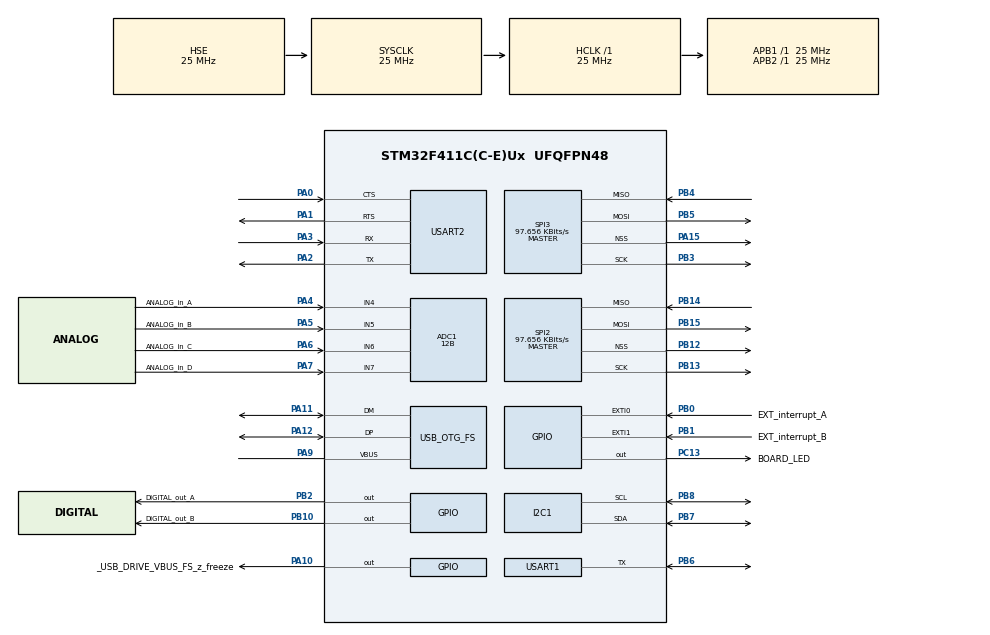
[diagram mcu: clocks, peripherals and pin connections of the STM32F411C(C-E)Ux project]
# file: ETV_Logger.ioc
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ADC1.Channel-1\#ChannelRegularConversion=ADC_CHANNEL_4
ADC1.Channel-5\#ChannelRegularConversion=ADC_CHANNEL_5
ADC1.Channel-6\#ChannelRegularConversion=ADC_CHANNEL_6
ADC1.Channel-7\#ChannelRegularConversion=ADC_CHANNEL_7
ADC1.Channel-8\#ChannelRegularConversion=ADC_CHANNEL_TEMPSENSOR
ADC1.Channel-9\#ChannelRegularConversion=ADC_CHANNEL_VREFINT
ADC1.ClockPrescaler=ADC_CLOCK_SYNC_PCLK_DIV8
ADC1.ContinuousConvMode=DISABLE
ADC1.DMAContinuousRequests=DISABLE
ADC1.DataAlign=ADC_DATAALIGN_RIGHT
ADC1.EOCSelection=ADC_EOC_SEQ_CONV
ADC1.ExternalTrigConv=ADC_SOFTWARE_START
ADC1.InjNumberOfConversion=0
ADC1.NbrOfConversion=6
ADC1.NbrOfConversionFlag=1
ADC1.Rank-1\#ChannelRegularConversion=1
ADC1.Rank-5\#ChannelRegularConversion=2
ADC1.Rank-6\#ChannelRegularConversion=3
ADC1.Rank-7\#ChannelRegularConversion=4
ADC1.Rank-8\#ChannelRegularConversion=5
ADC1.Rank-9\#ChannelRegularConversion=6
ADC1.Resolution=ADC_RESOLUTION_12B
ADC1.SamplingTime-1\#ChannelRegularConversion=ADC_SAMPLETIME_480CYCLES
ADC1.SamplingTime-5\#ChannelRegularConversion=ADC_SAMPLETIME_480CYCLES
ADC1.SamplingTime-6\#ChannelRegularConversion=ADC_SAMPLETIME_480CYCLES
ADC1.SamplingTime-7\#ChannelRegularConversion=ADC_SAMPLETIME_480CYCLES
ADC1.SamplingTime-8\#ChannelRegularConversion=ADC_SAMPLETIME_480CYCLES
ADC1.SamplingTime-9\#ChannelRegularConversion=ADC_SAMPLETIME_480CYCLES
ADC1.master=1
Dma.ADC1.0.Direction=DMA_PERIPH_TO_MEMORY
Dma.ADC1.0.FIFOMode=DMA_FIFOMODE_DISABLE
Dma.ADC1.0.Instance=DMA2_Stream0
Dma.ADC1.0.MemDataAlignment=DMA_MDATAALIGN_WORD
Dma.ADC1.0.MemInc=DMA_MINC_ENABLE
Dma.ADC1.0.Mode=DMA_CIRCULAR
Dma.ADC1.0.PeriphDataAlignment=DMA_PDATAALIGN_WORD
Dma.ADC1.0.PeriphInc=DMA_PINC_DISABLE
Dma.ADC1.0.Priority=DMA_PRIORITY_LOW
Dma.Request0=ADC1
FREERTOS.BinarySemaphores01=adcBufSmf_,Dynamic,NULL;adcFinalSmf_,Dynamic,NULL
FREERTOS.HEAP_NUMBER=4
FREERTOS.INCLUDE_uxTaskGetStackHighWaterMark2=1
FREERTOS.INCLUDE_vTaskCleanUpResources=0
FREERTOS.Queues01=adcBufQue_,200,uint32_t,0,Dynamic,NULL,NULL
FREERTOS.Tasks01=defaultTask,24,128,StartDefaultTask,Default,NULL,Dynamic,NULL,NULL;blinki,8,128,blinkiStart,Default,NULL,Dynamic,NULL,NULL;analogMerenje,8,128,analogMerenjeStart,Default,NULL,Dynamic,NULL,NULL;analogFilter,8,256,analogFilterStart,Default,NULL,Dynamic,NULL,NULL;extInt_A,32,128,extInt_A_receiver,Default,NULL,Dynamic,NULL,NULL;extInt_B,32,128,extInt_B_receiver,Default,NULL,Dynamic,NULL,NULL
FREERTOS.configCHECK_FOR_STACK_OVERFLOW=2
FREERTOS.configENABLE_BACKWARD_COMPATIBILITY=1
FREERTOS.configENABLE_FPU=1
FREERTOS.configGENERATE_RUN_TIME_STATS=1
FREERTOS.configMAX_TASK_NAME_LEN=32
FREERTOS.configMINIMAL_STACK_SIZE=128
FREERTOS.configRECORD_STACK_HIGH_ADDRESS=1
FREERTOS.configTICK_RATE_HZ=1000
FREERTOS.configTIMER_TASK_STACK_DEPTH=128
FREERTOS.configTOTAL_HEAP_SIZE=24000
FREERTOS.configUSE_APPLICATION_TASK_TAG=1
FREERTOS.configUSE_IDLE_HOOK=1
FREERTOS.configUSE_MALLOC_FAILED_HOOK=1
FREERTOS.configUSE_POSIX_ERRNO=1
FREERTOS.configUSE_STATS_FORMATTING_FUNCTIONS=0
FREERTOS.configUSE_TICK_HOOK=1
Mcu.Family=STM32F4
Mcu.Name=STM32F411C(C-E)Ux
Mcu.Package=UFQFPN48
Mcu.UserConstants=ADC_ULAZA_max,6;ADC_ULAZA_koristi,6;ADC_ULAZA_internih,2;ADC_SAMPLES_max,8;ADC_SAMPLES_koristi,8;ADC_REPEAT_PERIOD_mS,10000;a_dummy,-99;b_dummy,-99;c_dummy,-99;DIGITAL_ULAZA_max,3;DIGITAL_ULAZA_koristi,3;DIGITAL_SAMPLES_max,5;DIGITAL_SAMPLES_koristi,3;DIGITAL_REPEAT_PERIOD_mS,120000;d_dummy,-99;e_dummy,-99;blinkiPERIOD,1000;f_dummy,-999;EXTI_MINIMUM_REPEAT_mS,500
NVIC.ADC_IRQn=true\:5\:0\:false\:false\:true\:true\:true\:true
NVIC.DMA2_Stream0_IRQn=true\:5\:0\:false\:false\:true\:true\:false\:true
NVIC.EXTI0_IRQn=true\:5\:0\:false\:false\:true\:true\:true\:true
NVIC.EXTI1_IRQn=true\:5\:0\:false\:false\:true\:true\:true\:true
NVIC.OTG_FS_IRQn=true\:5\:0\:false\:false\:true\:true\:false\:true
NVIC.PriorityGroup=NVIC_PRIORITYGROUP_4
NVIC.SPI2_IRQn=true\:5\:0\:false\:false\:true\:true\:true\:true
NVIC.SPI3_IRQn=true\:5\:0\:false\:false\:true\:true\:true\:true
NVIC.TIM2_IRQn=true\:0\:0\:false\:false\:true\:false\:false\:true
NVIC.TimeBase=TIM2_IRQn
NVIC.TimeBaseIP=TIM2
PA0-WKUP.Mode=CTS_RTS
PA0-WKUP.Signal=USART2_CTS
PA1.Mode=CTS_RTS
PA1.Signal=USART2_RTS
PA10.GPIO_Label=_USB_DRIVE_VBUS_FS_z_freeze
PA10.Signal=GPIO_Output
PA11.Mode=Host_Only
PA11.Signal=USB_OTG_FS_DM
PA12.Mode=Host_Only
PA12.Signal=USB_OTG_FS_DP
PA13.Mode=Serial_Wire
PA13.Signal=SYS_JTMS-SWDIO
PA14.Mode=Serial_Wire
PA14.Signal=SYS_JTCK-SWCLK
PA15.Mode=NSS_Signal_Hard_Output
PA15.Signal=SPI3_NSS
PA2.Mode=Asynchronous
PA2.Signal=USART2_TX
PA3.Mode=Asynchronous
PA3.Signal=USART2_RX
PA4.GPIO_Label=ANALOG_in_A
PA4.Signal=ADCx_IN4
PA5.GPIO_Label=ANALOG_in_B
PA5.Signal=ADCx_IN5
PA6.GPIO_Label=ANALOG_in_C
PA6.Signal=ADCx_IN6
PA7.GPIO_Label=ANALOG_in_D
PA7.Signal=ADCx_IN7
PA9.Mode=Activate_VBUS
PA9.Signal=USB_OTG_FS_VBUS
PB0.GPIO_Label=EXT_interrupt_A
PB0.Signal=GPXTI0
PB1.GPIO_Label=EXT_interrupt_B
PB1.Signal=GPXTI1
PB10.GPIO_Label=DIGITAL_out_B
PB10.Signal=GPIO_Output
PB12.Mode=NSS_Signal_Hard_Output
PB12.Signal=SPI2_NSS
PB13.Mode=Full_Duplex_Master
PB13.Signal=SPI2_SCK
PB14.Mode=Full_Duplex_Master
PB14.Signal=SPI2_MISO
PB15.Mode=Full_Duplex_Master
PB15.Signal=SPI2_MOSI
PB2.GPIO_Label=DIGITAL_out_A
PB2.Signal=GPIO_Output
PB3.Mode=Full_Duplex_Master
PB3.Signal=SPI3_SCK
PB4.Mode=Full_Duplex_Master
PB4.Signal=SPI3_MISO
PB5.Mode=Full_Duplex_Master
PB5.Signal=SPI3_MOSI
PB6.Mode=Half_duplex(single_wire_mode)
PB6.Signal=USART1_TX
PB7.Mode=I2C
PB7.Signal=I2C1_SDA
PB8.Mode=I2C
PB8.Signal=I2C1_SCL
PC13-ANTI_TAMP.GPIO_Label=BOARD_LED
PC13-ANTI_TAMP.Signal=GPIO_Output
PC14-OSC32_IN.Mode=LSE-External-Oscillator
PC14-OSC32_IN.Signal=RCC_OSC32_IN
PC15-OSC32_OUT.Mode=LSE-External-Oscillator
PC15-OSC32_OUT.Signal=RCC_OSC32_OUT
PH0\ -\ OSC_IN.Mode=HSE-External-Oscillator
PH0\ -\ OSC_IN.Signal=RCC_OSC_IN
PH1\ -\ OSC_OUT.Mode=HSE-External-Oscillator
PH1\ -\ OSC_OUT.Signal=RCC_OSC_OUT
ProjectManager.HeapSize=0x200
ProjectManager.StackSize=0x400
ProjectManager.TargetToolchain=STM32CubeIDE
RCC.48MHZClocksFreq_Value=48000000
RCC.AHBFreq_Value=25000000
RCC.APB1Freq_Value=25000000
RCC.APB1TimFreq_Value=25000000
RCC.APB2Freq_Value=25000000
RCC.APB2TimFreq_Value=25000000
RCC.CortexFreq_Value=25000000
RCC.HCLKFreq_Value=25000000
RCC.HSE_VALUE=25000000
RCC.HSI_VALUE=16000000
RCC.PLLM=15
RCC.PLLN=144
RCC.PLLQ=5
RCC.RCC_RTC_Clock_Source=RCC_RTCCLKSOURCE_LSE
RCC.RCC_RTC_Clock_SourceVirtual=RCC_RTCCLKSOURCE_LSE
RCC.SYSCLKFreq_VALUE=25000000
RCC.SYSCLKSource=RCC_SYSCLKSOURCE_HSE
RCC.VCOOutputFreq_Value=240000000
RTC.Year=0
SH.ADCx_IN4.0=ADC1_IN4,IN4
SH.ADCx_IN5.0=ADC1_IN5,IN5
SH.ADCx_IN6.0=ADC1_IN6,IN6
SH.ADCx_IN7.0=ADC1_IN7,IN7
SPI2.BaudRatePrescaler=SPI_BAUDRATEPRESCALER_256
SPI2.CalculateBaudRate=97.656 KBits/s
SPI2.Direction=SPI_DIRECTION_2LINES
SPI2.Mode=SPI_MODE_MASTER
SPI2.VirtualNSS=VM_NSSHARD
SPI2.VirtualType=VM_MASTER
SPI3.BaudRatePrescaler=SPI_BAUDRATEPRESCALER_256
SPI3.CalculateBaudRate=97.656 KBits/s
SPI3.Direction=SPI_DIRECTION_2LINES
SPI3.Mode=SPI_MODE_MASTER
SPI3.VirtualNSS=VM_NSSHARD
SPI3.VirtualType=VM_MASTER
USART1.VirtualMode=VM_ASYNC
USART2.VirtualMode=VM_ASYNC
USB_HOST.BSP.number=1
USB_HOST.USBH_HandleTypeDef=hUsbHostFS
USB_HOST.VirtualModeFS=Msc
USB_HOST0.BSP.STBoard=false
USB_HOST0.BSP.api=Unknown
USB_HOST0.BSP.i2caddr=0
USB_HOST0.BSP.instance=PA10
USB_HOST0.BSP.ip=GPIO
USB_HOST0.BSP.mode=Output
USB_HOST0.BSP.name=Drive_VBUS_FS
USB_HOST0.BSP.solution=PA10
USB_OTG_FS.VirtualMode=Host_Only
USB_OTG_FS.phy_itface=HCD_PHY_EMBEDDED
VP_ADC1_TempSens_Input.Mode=IN-TempSens
VP_ADC1_Vref_Input.Mode=IN-Vrefint
VP_CRC_VS_CRC.Mode=CRC_Activate
VP_FATFS_VS_USB.Mode=USB
VP_FREERTOS_VS_CMSIS_V2.Mode=CMSIS_V2
VP_RTC_VS_RTC_Activate.Mode=RTC_Enabled
VP_RTC_VS_RTC_Calendar.Mode=RTC_Calendar
VP_SYS_VS_tim2.Mode=TIM2
VP_USB_HOST_VS_USB_HOST_MSC_FS.Mode=MSC_FS
board=custom

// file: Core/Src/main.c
/* USER CODE BEGIN Header */
/**
  ******************************************************************************
  * @file           : main.c
  * @brief          : Main program body
  ******************************************************************************
  * @attention
  *
  * <h2><center>&copy; Copyright (c) 2020 STMicroelectronics.
  * All rights reserved.</center></h2>
  *
  * This software component is licensed by ST under Ultimate Liberty license
  * SLA0044, the "License"; You may not use this file except in compliance with
  * the License. You may obtain a copy of the License at:
  *                             www.st.com/SLA0044
  *
  ******************************************************************************
  */
/* USER CODE END Header */

#include "main.h"
#include "cmsis_os.h"
#include "adc.h"
#include "crc.h"
#include "dma.h"
#include "fatfs.h"
#include "i2c.h"
#include "rtc.h"
#include "spi.h"
#include "usart.h"
#include "usb_host.h"
#include "gpio.h"

void SystemClock_Config(void);
void MX_FREERTOS_Init(void);

int main(void)
{

  /* MCU Configuration--------------------------------------------------------*/

  /* Reset of all peripherals, Initializes the Flash interface and the Systick. */
  HAL_Init();

  /* Configure the system clock */
  SystemClock_Config();

  /* Initialize all configured peripherals */
  MX_GPIO_Init();
  MX_DMA_Init();
  MX_ADC1_Init();
  MX_CRC_Init();
  MX_SPI2_Init();
  MX_SPI3_Init();
  MX_USART2_UART_Init();
  MX_USART1_UART_Init();
  MX_I2C1_Init();
  MX_RTC_Init();
  MX_FATFS_Init();

  /* Init scheduler */
  osKernelInitialize();  /* Call init function for freertos objects (in freertos.c) */
  MX_FREERTOS_Init();
  /* Start scheduler */
  osKernelStart();

  /* We should never get here as control is now taken by the scheduler */
  /* Infinite loop */
  while (1)
  {

  }
}

void SystemClock_Config(void)
{
  RCC_OscInitTypeDef RCC_OscInitStruct = {0};
  RCC_ClkInitTypeDef RCC_ClkInitStruct = {0};
  RCC_PeriphCLKInitTypeDef PeriphClkInitStruct = {0};

  /** Configure the main internal regulator output voltage
  */
  __HAL_RCC_PWR_CLK_ENABLE();
  __HAL_PWR_VOLTAGESCALING_CONFIG(PWR_REGULATOR_VOLTAGE_SCALE1);
  /** Initializes the CPU, AHB and APB busses clocks
  */
  RCC_OscInitStruct.OscillatorType = RCC_OSCILLATORTYPE_HSE|RCC_OSCILLATORTYPE_LSE;
  RCC_OscInitStruct.HSEState = RCC_HSE_ON;
  RCC_OscInitStruct.LSEState = RCC_LSE_ON;
  RCC_OscInitStruct.PLL.PLLState = RCC_PLL_ON;
  RCC_OscInitStruct.PLL.PLLSource = RCC_PLLSOURCE_HSE;
  RCC_OscInitStruct.PLL.PLLM = 15;
  RCC_OscInitStruct.PLL.PLLN = 144;
  RCC_OscInitStruct.PLL.PLLP = RCC_PLLP_DIV2;
  RCC_OscInitStruct.PLL.PLLQ = 5;
  if (HAL_RCC_OscConfig(&RCC_OscInitStruct) != HAL_OK)
  {
    Error_Handler();
  }
  /** Initializes the CPU, AHB and APB busses clocks
  */
  RCC_ClkInitStruct.ClockType = RCC_CLOCKTYPE_HCLK|RCC_CLOCKTYPE_SYSCLK
                              |RCC_CLOCKTYPE_PCLK1|RCC_CLOCKTYPE_PCLK2;
  RCC_ClkInitStruct.SYSCLKSource = RCC_SYSCLKSOURCE_HSE;
  RCC_ClkInitStruct.AHBCLKDivider = RCC_SYSCLK_DIV1;
  RCC_ClkInitStruct.APB1CLKDivider = RCC_HCLK_DIV1;
  RCC_ClkInitStruct.APB2CLKDivider = RCC_HCLK_DIV1;

  if (HAL_RCC_ClockConfig(&RCC_ClkInitStruct, FLASH_LATENCY_0) != HAL_OK)
  {
    Error_Handler();
  }
  PeriphClkInitStruct.PeriphClockSelection = RCC_PERIPHCLK_RTC;
  PeriphClkInitStruct.RTCClockSelection = RCC_RTCCLKSOURCE_LSE;
  if (HAL_RCCEx_PeriphCLKConfig(&PeriphClkInitStruct) != HAL_OK)
  {
    Error_Handler();
  }
}

 /**
  * @brief  Period elapsed callback in non blocking mode
  * @note   This function is called  when TIM2 interrupt took place, inside
  * HAL_TIM_IRQHandler(). It makes a direct call to HAL_IncTick() to increment
  * a global variable "uwTick" used as application time base.
  * @param  htim : TIM handle
  * @retval None
  */
void HAL_TIM_PeriodElapsedCallback(TIM_HandleTypeDef *htim)
{
  if (htim->Instance == TIM2) {
    HAL_IncTick();
  }
}

void Error_Handler(void)
{
}

/************************ (C) COPYRIGHT STMicroelectronics *****END OF FILE****/

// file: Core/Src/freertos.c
/* USER CODE BEGIN Header */
/**
 ******************************************************************************
 * File Name          : freertos.c
 * Description        : Code for freertos applications
 ******************************************************************************
 * @attention
 *
 * <h2><center>&copy; Copyright (c) 2020 STMicroelectronics.
 * All rights reserved.</center></h2>
 *
 * This software component is licensed by ST under Ultimate Liberty license
 * SLA0044, the "License"; You may not use this file except in compliance with
 * the License. You may obtain a copy of the License at:
 *                             www.st.com/SLA0044
 *
 ******************************************************************************
 */
/* USER CODE END Header */

#include "FreeRTOS.h"
#include "task.h"
#include "main.h"
#include "cmsis_os.h"

/* USER CODE BEGIN Includes */
#include "adc.h"
#include "taskovi.h"
#include "stdlib.h"
#include "rtc.h"

/* USER CODE END Includes */

/* USER CODE BEGIN Variables */
uint32_t adcDMABuf[ADC_ULAZA_max] = { 0 };
float adcAnalog[ADC_ULAZA_max] = { 0 };
uint32_t adcLogic[ADC_ULAZA_max] = { 0 };

/* USER CODE END Variables */
/* Definitions for defaultTask */
osThreadId_t defaultTaskHandle;
const osThreadAttr_t defaultTask_attributes = {
  .name = "defaultTask",
  .priority = (osPriority_t) osPriorityNormal,
  .stack_size = 128 * 4
};
/* Definitions for blinki */
osThreadId_t blinkiHandle;
const osThreadAttr_t blinki_attributes = {
  .name = "blinki",
  .priority = (osPriority_t) osPriorityLow,
  .stack_size = 128 * 4
};
/* Definitions for analogMerenje */
osThreadId_t analogMerenjeHandle;
const osThreadAttr_t analogMerenje_attributes = {
  .name = "analogMerenje",
  .priority = (osPriority_t) osPriorityLow,
  .stack_size = 128 * 4
};
/* Definitions for analogFilter */
osThreadId_t analogFilterHandle;
const osThreadAttr_t analogFilter_attributes = {
  .name = "analogFilter",
  .priority = (osPriority_t) osPriorityLow,
  .stack_size = 256 * 4
};
/* Definitions for extInt_A */
osThreadId_t extInt_AHandle;
const osThreadAttr_t extInt_A_attributes = {
  .name = "extInt_A",
  .priority = (osPriority_t) osPriorityAboveNormal,
  .stack_size = 128 * 4
};
/* Definitions for extInt_B */
osThreadId_t extInt_BHandle;
const osThreadAttr_t extInt_B_attributes = {
  .name = "extInt_B",
  .priority = (osPriority_t) osPriorityAboveNormal,
  .stack_size = 128 * 4
};
/* Definitions for adcBufQue_ */
osMessageQueueId_t adcBufQue_Handle;
const osMessageQueueAttr_t adcBufQue__attributes = {
  .name = "adcBufQue_"
};
/* Definitions for adcBufSmf_ */
osSemaphoreId_t adcBufSmf_Handle;
const osSemaphoreAttr_t adcBufSmf__attributes = {
  .name = "adcBufSmf_"
};
/* Definitions for adcFinalSmf_ */
osSemaphoreId_t adcFinalSmf_Handle;
const osSemaphoreAttr_t adcFinalSmf__attributes = {
  .name = "adcFinalSmf_"
};

/* USER CODE BEGIN FunctionPrototypes */
void adcBackgroundStart();
void digitalCitac(uint32_t);
void djokicaStack(uint8_t);

/* USER CODE END FunctionPrototypes */

void StartDefaultTask(void *argument);
void blinkiStart(void *argument);
void analogMerenjeStart(void *argument);
void analogFilterStart(void *argument);
void extInt_A_receiver(void *argument);
void extInt_B_receiver(void *argument);

extern void MX_USB_HOST_Init(void);
void MX_FREERTOS_Init(void); /* (MISRA C 2004 rule 8.1) */

/* Hook prototypes */
void configureTimerForRunTimeStats(void);
unsigned long getRunTimeCounterValue(void);
void vApplicationIdleHook(void);
void vApplicationTickHook(void);
void vApplicationStackOverflowHook(xTaskHandle xTask, signed char *pcTaskName);
void vApplicationMallocFailedHook(void);

/* USER CODE BEGIN 1 */
/* Functions needed when configGENERATE_RUN_TIME_STATS is on */
__weak void configureTimerForRunTimeStats(void) {

}

__weak unsigned long getRunTimeCounterValue(void) {
	return 0;
}
/* USER CODE END 1 */

/* USER CODE BEGIN 2 */
__weak void vApplicationIdleHook(void) {
	/* vApplicationIdleHook() will only be called if configUSE_IDLE_HOOK is set
	 to 1 in FreeRTOSConfig.h. It will be called on each iteration of the idle
	 task. It is essential that code added to this hook function never attempts
	 to block in any way (for example, call xQueueReceive() with a block time
	 specified, or call vTaskDelay()). If the application makes use of the
	 vTaskDelete() API function (as this demo application does) then it is also
	 important that vApplicationIdleHook() is permitted to return to its calling
	 function, because it is the responsibility of the idle task to clean up
	 memory allocated by the kernel to any task that has since been deleted. */
}
/* USER CODE END 2 */

/* USER CODE BEGIN 3 */
__weak void vApplicationTickHook(void) {
	/* This function will be called by each tick interrupt if
	 configUSE_TICK_HOOK is set to 1 in FreeRTOSConfig.h. User code can be
	 added here, but the tick hook is called from an interrupt context, so
	 code must not attempt to block, and only the interrupt safe FreeRTOS API
	 functions can be used (those that end in FromISR()). */
}
/* USER CODE END 3 */

/* USER CODE BEGIN 4 */
__weak void vApplicationStackOverflowHook(xTaskHandle xTask,
		signed char *pcTaskName) {
	/* Run time stack overflow checking is performed if
	 configCHECK_FOR_STACK_OVERFLOW is defined to 1 or 2. This hook function is
	 called if a stack overflow is detected. */
}
/* USER CODE END 4 */

/* USER CODE BEGIN 5 */
__weak void vApplicationMallocFailedHook(void) {
	/* vApplicationMallocFailedHook() will only be called if
	 configUSE_MALLOC_FAILED_HOOK is set to 1 in FreeRTOSConfig.h. It is a hook
	 function that will get called if a call to pvPortMalloc() fails.
	 pvPortMalloc() is called internally by the kernel whenever a task, queue,
	 timer or semaphore is created. It is also called by various parts of the
	 demo application. If heap_1.c or heap_2.c are used, then the size of the
	 heap available to pvPortMalloc() is defined by configTOTAL_HEAP_SIZE in
	 FreeRTOSConfig.h, and the xPortGetFreeHeapSize() API function can be used
	 to query the size of free heap space that remains (although it does not
	 provide information on how the remaining heap might be fragmented). */
}
/* USER CODE END 5 */

void MX_FREERTOS_Init(void) {

  /* Create the semaphores(s) */
  /* creation of adcBufSmf_ */
  adcBufSmf_Handle = osSemaphoreNew(1, 1, &adcBufSmf__attributes);

  /* creation of adcFinalSmf_ */
  adcFinalSmf_Handle = osSemaphoreNew(1, 1, &adcFinalSmf__attributes);

  /* Create the queue(s) */
  /* creation of adcBufQue_ */
  adcBufQue_Handle = osMessageQueueNew (200, sizeof(uint32_t), &adcBufQue__attributes);

  /* Create the thread(s) */
  /* creation of defaultTask */
  defaultTaskHandle = osThreadNew(StartDefaultTask, NULL, &defaultTask_attributes);

  /* creation of blinki */
  blinkiHandle = osThreadNew(blinkiStart, NULL, &blinki_attributes);

  /* creation of analogMerenje */
  analogMerenjeHandle = osThreadNew(analogMerenjeStart, NULL, &analogMerenje_attributes);

  /* creation of analogFilter */
  analogFilterHandle = osThreadNew(analogFilterStart, NULL, &analogFilter_attributes);

  /* creation of extInt_A */
  extInt_AHandle = osThreadNew(extInt_A_receiver, NULL, &extInt_A_attributes);

  /* creation of extInt_B */
  extInt_BHandle = osThreadNew(extInt_B_receiver, NULL, &extInt_B_attributes);

}

void StartDefaultTask(void *argument)
{
  /* init code for USB_HOST */
  MX_USB_HOST_Init();
  /* USER CODE BEGIN StartDefaultTask */
	/* Infinite loop */
	for (;;) {
		osDelay(100);
	}
  /* USER CODE END StartDefaultTask */
}

void blinkiStart(void *argument)
{
  /* USER CODE BEGIN blinkiStart */
	int blinkLen = 4;
	/* Infinite loop */
	for (;;) {
		uint32_t x = HAL_RTCEx_BKUPRead(&hrtc, 11);
		trep(blinkLen);
		osDelay(blinkiPERIOD - blinkLen+1);
	}
  /* USER CODE END blinkiStart */
}

void analogMerenjeStart(void *argument)
{
  /* USER CODE BEGIN analogMerenjeStart */
	/* Infinite loop */
	for (;;) {
		adcBackgroundStart();
		osDelay(pdMS_TO_TICKS(ADC_REPEAT_PERIOD_mS));
	}
  /* USER CODE END analogMerenjeStart */
}

void analogFilterStart(void *argument)
{
  /* USER CODE BEGIN analogFilterStart */

	/*
	 * ADC ulazi su:
	 * adc1_in4
	 * adc1_in5
	 * ...
	 * temperature sensor (interni senzor na cpu)
	 * Vrefint (interni referentni napon za adc)
	 */
	uint32_t istorija[ADC_SAMPLES_max][ADC_ULAZA_max] = { 0 };
	uint32_t najnoviji[ADC_ULAZA_koristi] = { 0 };
	float analogFiltered[ADC_ULAZA_koristi] = { 0 };
	uint32_t tmp = 0;

	/* Infinite loop */
	for (;;) {
		// najnoviji rezultat[] prebacujem jedan po jedan ulaz, u matricu istorija[][]

		for (int ulaz = 0; ulaz < ADC_ULAZA_koristi; ++ulaz) {
			// sledeci rezultat merenja iz queue stavim u najnoviji[]. Moze to i brze ali ovako je cistije i lakse

			while(osOK != osMessageQueueGet(adcBufQue_Handle, &najnoviji[ulaz], NULL, osWaitForever) ) {
				/*
				 * ako istekne osWaitforever (za 1mS tick to je oko 49 dana) ili se desi bilo sta drugo
				 * vracam se i nastavljam da cekam
				 */
				// FEA ako se desilo bilo sta drugo osim sto je istekao osWaitforever?
			}

		}

		// nakon dovoljno cekanja u queue svi ulazi su izmereni i prebaceni u najnoviji[]
		// sad cemo da ih procesiramo
		for (int sempl = 0; sempl < ADC_SAMPLES_koristi; ++sempl) {
			// prebaci najnovije merenje u istoriju
			for (int ulaz = 0; ulaz < ADC_ULAZA_koristi; ++ulaz) {
				// jedan po jedan ulaz
				istorija[sempl][ulaz] = najnoviji[ulaz];

				// kad sam vec tu, za isti taj ulaz nadjem average svih semplova do sada
				tmp = 0;
				for (int i = 0; i < ADC_SAMPLES_koristi; ++i) {
					tmp = tmp + istorija[i][ulaz];
				}
				// i sacuvam to
				analogFiltered[ulaz] = ((float) tmp) / ((float) ADC_SAMPLES_koristi);
			}

		}
		// specijalan tretman za interno merenje temperature procesora
		// pogledati datasheet i reference manual za konkretan cpu, izabranu rezoluciju adc-a itd
		// celzijusa = ((adcMerenje * (Vrefint / adcRezolucija) - 0.76) / 2.5) + 25
		// celzijusa = ((adcMerenje * (  3.3   /     4096     ) - 0.76) / 2.5) + 25;
		float tmp = analogFiltered[ADC_ULAZA_koristi - 2];// prioritet internog temp senzora = pretposlednji (ali indeksi pocinju od 0)
		float cpuTemperatura = ((tmp * (3.3 / 4096) - 0.76) / 2.5) + 25;
		float cpuAdcVoltageReference = analogFiltered[ADC_ULAZA_koristi - 1];// prioritet Vrefint = poslednji (ali indeksi pocinju od 0)
		analogFiltered[ADC_ULAZA_koristi - 2] = cpuTemperatura;	// XXX zasto je uvek 24.696?
		analogFiltered[ADC_ULAZA_koristi - 1] = cpuAdcVoltageReference;

		while (osOK != osSemaphoreAcquire(adcFinalSmf_Handle, osWaitForever)) {
			// ako istekne osWaitForever, vracam se na cekanje
			// FEA bilo sta drugo osim osWaitForever -> sta onda?
		}
		for (int i = 0; i < ADC_ULAZA_koristi; ++i) {
			float af = analogFiltered[i];
			adcAnalog[i] = af;				// finalni rezultat ADC konvertora

			if (af < 1500) {// konvertujem to isto u fejk logicki nivo (ADC rezolucija je 4096)
				adcLogic[i] = 0;		// ispod 1500 smatram da je logicka nula
			} else if (af > 2500) {
				adcLogic[i] = 1;	// preko 2500 smatram da je logicka jedinica
			};			// izmedju 1500 i 2500 stanje se ne menja. Histerezis!
		}
		if (osOK != osSemaphoreRelease(adcFinalSmf_Handle)) {
			// FEA desila se neka greska, sta sad?
		} else {
			// semafor oslobodjen, nastavi dalje
		}

	}
  /* USER CODE END analogFilterStart */
}

void extInt_A_receiver(void *argument)
{
  /* USER CODE BEGIN extInt_A_receiver */
	/* Infinite loop */
	for (;;) {
		if (pdTRUE == ulTaskNotifyTake(pdTRUE, portMAX_DELAY)) {
			// ISR se desio, uradi nesto
			osDelay(pdMS_TO_TICKS(EXTI_MINIMUM_REPEAT_mS));		// TODO jos neko vreme ne raagujem na novi interrupt
		}
	}
  /* USER CODE END extInt_A_receiver */
}

void extInt_B_receiver(void *argument)
{
  /* USER CODE BEGIN extInt_B_receiver */
	/* Infinite loop */
	for (;;) {
		if (pdTRUE == osTaskNotifyTake(pdTRUE, portMAX_DELAY)) {
			// ISR se desio, uradi nesto
			osDelay(pdMS_TO_TICKS(EXTI_MINIMUM_REPEAT_mS));		// TODO jos neko vreme ne raagujem na novi interrupt
		}
	}
  /* USER CODE END extInt_B_receiver */
}

/* USER CODE BEGIN Application */

void adcBackgroundStart() {
	/*
	 * ADC ulazi su: su
	 * in4
	 * in5
	 * in6
	 * in7
	 * temperature sensor (interni senzor na cpu)
	 * Vrefint (interni referentni napon za adc)
	 */

//	treptrep();
	ledon();
	osDelay(blinkiPERIOD * 2);
	HAL_ADC_Start_DMA(&hadc1, (uint32_t*) adcDMABuf, ADC_ULAZA_koristi);// pokrenem ADC konverziju

	/*
	 *
	 - ADC konverzija se zavrsi u pozadini i startuje DMA
	 - DMA prebaci rezultate u bafer adcDMABuf
	 - DMA IRQ hendler uzme semafor(1) i posalje jedan po jedan rezultat iz adc bafera u message queue
	 dma irq hendler otpusti semafor

	 - task startAnalogFilter:
	 ceka na taj queue sa osWaitforever
	 prebacuje rezultate u 2d-array istorija[sempl][ulaz]
	 izracunava srednju vrednost poslednjih X semplova, za svaki ulaz posebno
	 odredjuje logicki nivo za svaki ulaz po principu LOW < 1/3 < histerezis < 2/3 < HIGH
	 - uzme semafor(1) da prebaci rezultate u globalno vidljive array-e za analogni i logicki nivo
	 - otpusti semafor
	 - i sve se to desava u pozadini
	 -I DOK ZAVRSI, IDEM DA ODMARAM npr 10 sekundi do sledeceg starta konverzije
	 */

}

void z_HAL_ADC_DMA_irq_hendler(void) {

	HAL_ADC_Stop_DMA(&hadc1);			// zaustavi ga
	const uint8_t prioBzvz = 100;	// uvek isti prio -> nema preticanja u queue
	const uint32_t nula = 0;	// May be called from IRQ service if timeout = 0

	// ako ima slobodnih mesta bar za ceo jedan ciklus merenja
	uint32_t slob = osMessageQueueGetSpace(adcBufQue_Handle);
	if (slob >= ADC_ULAZA_koristi) {
		// saljem pojedinacna merenja u queue, ali potrebam je veliki queue
		if (osOK != osSemaphoreAcquire(adcBufSmf_Handle, nula) ) {
			// FEA desila se neka greska
		}
		for (int i = 0; i < ADC_ULAZA_koristi; ++i) {
			if (osOK != osMessageQueuePut(adcBufQue_Handle, (uint32_t*) adcDMABuf[i], prioBzvz, nula) ) {
				// FEA desila se neka greska
			}
		}
		if (osOK != osSemaphoreRelease(adcBufSmf_Handle)) {
			// FEA desila se neka greska
		}
	} else {
		// FEA nije bilo mesta u adcRezultatQueue
	}
	ledof();

}

void HAL_GPIO_EXTI_Callback(uint16_t GpioPin){
	BaseType_t xHigherPriorityTaskWoken = pdFALSE;
	switch (GpioPin) {
	case EXT_interrupt_A_Pin:
		vTaskNotifyGiveFromISR(extInt_AHandle, &xHigherPriorityTaskWoken);
		portYIELD_FROM_ISR(xHigherPriorityTaskWoken);
		break;

	case EXT_interrupt_B_Pin:
		vTaskNotifyGiveFromISR(extInt_BHandle, &xHigherPriorityTaskWoken);
		portYIELD_FROM_ISR(xHigherPriorityTaskWoken);
		break;

	default:
		break;
	}
}

/* USER CODE END Application */

/************************ (C) COPYRIGHT STMicroelectronics *****END OF FILE****/
